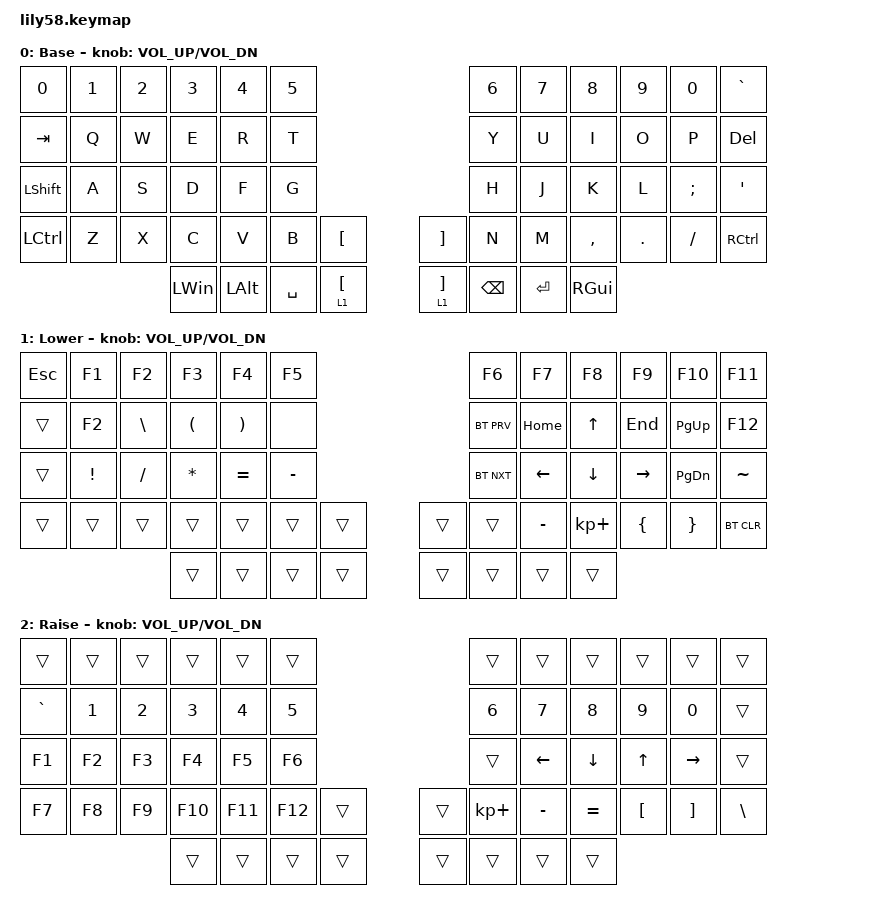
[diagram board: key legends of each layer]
/*
 * Copyright (c) 2020 The ZMK Contributors
 *
 * SPDX-License-Identifier: MIT
 */

#include <behaviors.dtsi>
#include <dt-bindings/zmk/bt.h>
#include <dt-bindings/zmk/keys.h>

/ {
    keymap {
        compatible = "zmk,keymap";

        default_layer {
            // ------------------------------------------------------------------------------------------------------------
            // |  ESC  |  1  |  2  |  3   |  4   |  5   |                   |  6   |  7    |  8    |  9   |   0   |   `   |
            // |  TAB  |  Q  |  W  |  E   |  R   |  T   |                   |  Y   |  U    |  I    |  O   |   P   |   -   |
            // |  CTRL |  A  |  S  |  D   |  F   |  G   |                   |  H   |  J    |  K    |  L   |   ;   |   '   |
            // | SHIFT |  Z  |  X  |  C   |  V   |  B   |   "["  |  |  "]"  |  N   |  M    |  ,    |  .   |   /   | SHIFT |
            //                     | ALT  | GUI  | LOWER|  SPACE |  | ENTER | RAISE| BSPC  | GUI   |

            display-name = "Base";
            bindings = <
&kp N0            &kp N1  &kp N2  &kp N3        &kp N4        &kp N5                                                &kp N6         &kp N7     &kp N8     &kp N9   &kp N0    &kp GRAVE
&kp TAB           &kp Q   &kp W   &kp E         &kp R         &kp T                                                 &kp Y          &kp U      &kp I      &kp O    &kp P     &kp DELETE
&kp LEFT_SHIFT    &kp A   &kp S   &kp D         &kp F         &kp G                                                 &kp H          &kp J      &kp K      &kp L    &kp SEMI  &kp SQT
&kp LEFT_CONTROL  &kp Z   &kp X   &kp C         &kp V         &kp B      &kp LBKT              &kp RBKT             &kp N          &kp M      &kp COMMA  &kp DOT  &kp FSLH  &kp RCTRL
                                  &kp LEFT_WIN  &kp LEFT_ALT  &kp SPACE  &lt 1 LEFT_BRACKET    &lt 1 RIGHT_BRACKET  &kp BACKSPACE  &kp ENTER  &kp RGUI
            >;

            sensor-bindings = <&inc_dec_kp C_VOL_UP C_VOL_DN>;
        };

        lower_layer {
            // ------------------------------------------------------------------------------------------------------------
            // | BTCLR | BT1 | BT2 |  BT3 |  BT4 |  BT5 |                   |      |       |       |      |       |       |
            // |  F1   |  F2 |  F3 |  F4  |  F5  |  F6  |                   |  F7  |  F8   |  F9   |  F10 |  F11  |  F12  |
            // |   `   |  !  |  @  |  #   |  $   |  %   |                   |  ^   |  &    |  *    |  (   |   )   |   ~   |
            // |       |     |     |      |      |      |        |  |       |      |  _    |  +    |  {   |   }   |  "|"  |
            //                     |      |      |      |        |  |       |      |       |       |

            display-name = "Lower";
            bindings = <
&kp ESCAPE  &kp F1    &kp F2         &kp F3                &kp F4                 &kp F5                       &kp F6      &kp F7          &kp F8        &kp F9     &kp F10        &kp F11
&trans      &kp F2    &kp BACKSLASH  &kp LEFT_PARENTHESIS  &kp RIGHT_PARENTHESIS  &none                        &bt BT_PRV  &kp HOME        &kp UP_ARROW  &kp END    &kp PAGE_UP    &kp F12
&trans      &kp EXCL  &kp SLASH      &kp ASTRK             &kp EQUAL              &kp MINUS                    &bt BT_NXT  &kp LEFT_ARROW  &kp DOWN      &kp RIGHT  &kp PAGE_DOWN  &kp TILDE
&trans      &trans    &trans         &trans                &trans                 &trans     &trans    &trans  &trans      &kp MINUS       &kp KP_PLUS   &kp LBRC   &kp RBRC       &bt BT_CLR
                                     &trans                &trans                 &trans     &trans    &trans  &trans      &trans          &trans
            >;

            sensor-bindings = <&inc_dec_kp C_VOL_UP C_VOL_DN>;
        };

        raise_layer {
            // ------------------------------------------------------------------------------------------------------------
            // |       |     |     |      |      |      |                   |      |       |       |      |       |       |
            // |   `   |  1  |  2  |  3   |  4   |  5   |                   |  6   |   7   |   8   |  9   |   0   |       |
            // |   F1  |  F2 |  F3 |  F4  |  F5  |  F6  |                   |      |   <-  |   v   |  ^   |  ->   |       |
            // |   F7  |  F8 |  F9 |  F10 |  F11 |  F12 |        |  |       |  +   |   -   |   =   |  [   |   ]   |   \   |
            //                     |      |      |      |        |  |       |      |       |       |

            display-name = "Raise";
            bindings = <
&trans     &trans  &trans  &trans   &trans   &trans                     &trans       &trans     &trans     &trans    &trans     &trans
&kp GRAVE  &kp N1  &kp N2  &kp N3   &kp N4   &kp N5                     &kp N6       &kp N7     &kp N8     &kp N9    &kp N0     &trans
&kp F1     &kp F2  &kp F3  &kp F4   &kp F5   &kp F6                     &trans       &kp LEFT   &kp DOWN   &kp UP    &kp RIGHT  &trans
&kp F7     &kp F8  &kp F9  &kp F10  &kp F11  &kp F12  &trans    &trans  &kp KP_PLUS  &kp MINUS  &kp EQUAL  &kp LBKT  &kp RBKT   &kp BSLH
                           &trans   &trans   &trans   &trans    &trans  &trans       &trans     &trans
            >;

            sensor-bindings = <&inc_dec_kp C_VOL_UP C_VOL_DN>;
        };

        extra_1 { status = "reserved"; };

        extra_2 { status = "reserved"; };

        extra_3 { status = "reserved"; };
    };
};
